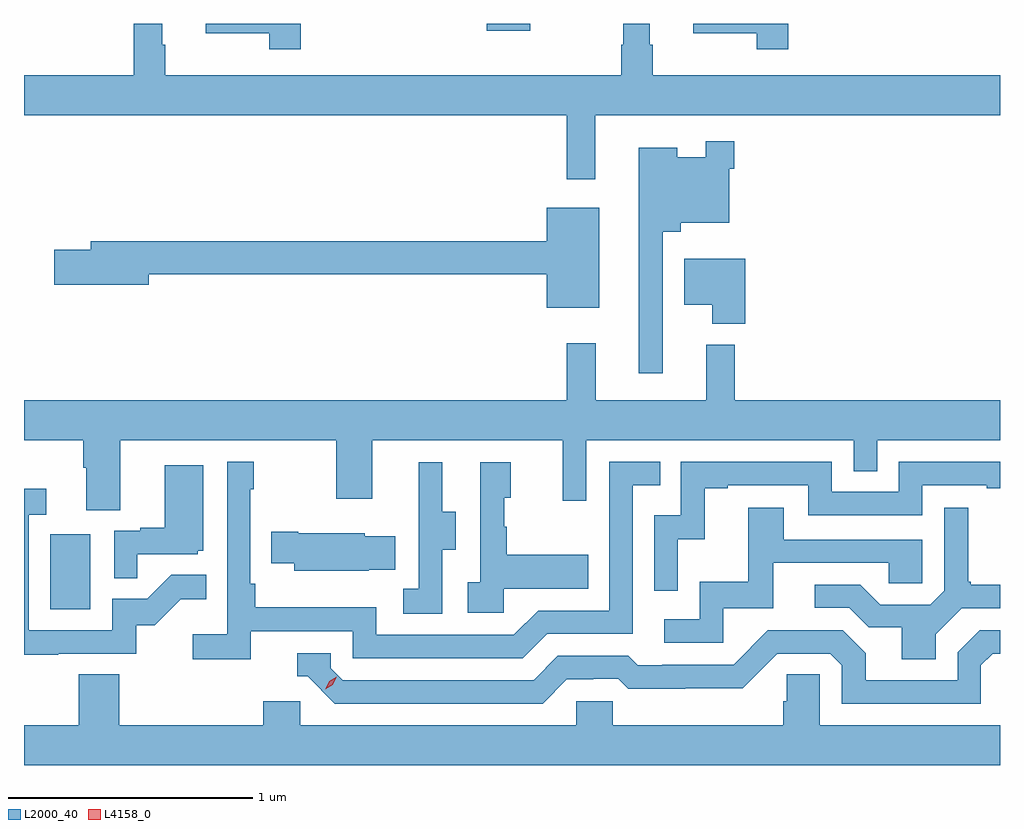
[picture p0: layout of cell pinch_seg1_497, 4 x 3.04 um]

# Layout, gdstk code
import gdstk
lib = gdstk.Library(unit=1e-6, precision=1e-09)
def R(c, l, rs):  # rectangles x0, y0, x1, y1
    for r in rs: c.add(gdstk.rectangle(r[:2], r[2:], *l))
def P(c, l, *ps):  # polygons
    for p in ps: c.add(gdstk.Polygon(p, *l))
L2000_40 = (2000, 40)
L4158_0 = (4158, 0)

pinch_seg1_497 = lib.new_cell('pinch_seg1_497')
R(pinch_seg1_497, L2000_40, [(1127.912,525.732,1128.076,526.039), (1129.7,528.102,1129.878,528.131)])
P(pinch_seg1_497, L2000_40, [(1128.938,528.131),(1128.548,528.131),(1128.548,528.092),(1128.81,528.092),(1128.81,528.027),(1128.938,528.027)],
  [(1130.936,528.131),(1130.546,528.131),(1130.546,528.092),(1130.808,528.092),(1130.808,528.027),(1130.936,528.027)],
  [(1130.146,527.756),(1131.804,527.756),(1131.804,527.92),(1130.38,527.92),(1130.38,528.044),(1130.368,528.044),(1130.368,528.131),(1130.259,528.131),(1130.259,528.044),(1130.251,528.044),(1130.251,527.92),(1128.382,527.92),(1128.382,528.044),(1128.37,528.044),(1128.37,528.131),(1128.253,528.131),(1128.253,527.92),(1127.804,527.92),(1127.804,527.756),(1130.029,527.756),(1130.029,527.493),(1130.146,527.493)],
  [(1130.421,527.279),(1130.495,527.279),(1130.495,527.315),(1130.694,527.315),(1130.694,527.537),(1130.714,527.537),(1130.714,527.65),(1130.598,527.65),(1130.598,527.584),(1130.482,527.584),(1130.482,527.623),(1130.324,527.623),(1130.324,526.698),(1130.421,526.698)],
  [(1130.161,527.377),(1129.946,527.377),(1129.946,527.24),(1128.077,527.24),(1128.077,527.204),(1127.928,527.204),(1127.928,527.062),(1128.316,527.062),(1128.316,527.104),(1129.946,527.104),(1129.946,526.967),(1130.161,526.967)],
  [(1130.759,527.167),(1130.51,527.167),(1130.51,526.979),(1130.624,526.979),(1130.624,526.901),(1130.759,526.901)],
  [(1128.199,526.424),(1129.084,526.424),(1129.084,526.185),(1129.231,526.185),(1129.231,526.424),(1130.012,526.424),(1130.012,526.176),(1130.109,526.176),(1130.109,526.424),(1131.204,526.424),(1131.204,526.297),(1131.3,526.297),(1131.3,526.424),(1131.804,526.424),(1131.804,526.588),(1130.717,526.588),(1130.717,526.816),(1130.6,526.816),(1130.6,526.588),(1130.147,526.588),(1130.147,526.822),(1130.029,526.822),(1130.029,526.588),(1127.804,526.588),(1127.804,526.424),(1128.047,526.424),(1128.047,526.312),(1128.059,526.312),(1128.059,526.138),(1128.199,526.138)],
  [(1128.734,525.642),(1129.152,525.642),(1129.152,525.531),(1129.849,525.531),(1129.948,525.63),(1130.298,525.63),(1130.298,526.239),(1130.411,526.239),(1130.411,526.335),(1130.202,526.335),(1130.202,525.726),(1129.911,525.726),(1129.812,525.627),(1129.248,525.627),(1129.248,525.739),(1128.752,525.739),(1128.752,525.835),(1128.732,525.835),(1128.732,526.223),(1128.745,526.223),(1128.745,526.336),(1128.636,526.336),(1128.636,525.628),(1128.495,525.628),(1128.495,525.526),(1128.734,525.526)],
  [(1130.484,526.019),(1130.594,526.019),(1130.594,526.227),(1130.689,526.227),(1130.689,526.239),(1131.018,526.239),(1131.018,526.116),(1131.486,526.116),(1131.486,526.239),(1131.749,526.239),(1131.749,526.227),(1131.804,526.227),(1131.804,526.335),(1131.39,526.335),(1131.39,526.212),(1131.114,526.212),(1131.114,526.335),(1130.496,526.335),(1130.496,526.116),(1130.388,526.116),(1130.388,525.807),(1130.484,525.807)],
  [(1129.77,525.815),(1130.117,525.815),(1130.117,525.955),(1129.783,525.955),(1129.783,526.07),(1129.773,526.07),(1129.773,526.188),(1129.798,526.188),(1129.798,526.333),(1129.674,526.333),(1129.674,525.842),(1129.623,525.842),(1129.623,525.717),(1129.77,525.717)],
  [(1129.518,525.976),(1129.573,525.976),(1129.573,526.131),(1129.519,526.131),(1129.519,526.333),(1129.421,526.333),(1129.421,526.119),(1129.422,526.119),(1129.422,525.815),(1129.359,525.815),(1129.359,525.712),(1129.518,525.712)],
  [(1128.269,525.957),(1128.516,525.957),(1128.516,525.972),(1128.538,525.972),(1128.538,526.321),(1128.38,526.321),(1128.38,526.066),(1128.281,526.066),(1128.281,526.053),(1128.174,526.053),(1128.174,525.859),(1128.269,525.859)],
  [(1127.945,525.549),(1128.264,525.549),(1128.264,525.666),(1128.34,525.666),(1128.447,525.773),(1128.551,525.773),(1128.551,525.872),(1128.407,525.872),(1128.309,525.774),(1128.165,525.774),(1128.165,525.645),(1127.823,525.645),(1127.823,526.119),(1127.896,526.119),(1127.896,526.225),(1127.804,526.225),(1127.804,525.544),(1127.945,525.544)],
  [(1131.541,525.628),(1131.648,525.735),(1131.804,525.735),(1131.804,525.832),(1131.685,525.832),(1131.685,525.844),(1131.673,525.844),(1131.673,526.147),(1131.576,526.147),(1131.576,525.807),(1131.519,525.75),(1131.313,525.75),(1131.232,525.831),(1131.045,525.831),(1131.045,525.738),(1131.186,525.738),(1131.266,525.658),(1131.401,525.658),(1131.401,525.526),(1131.541,525.526)],
  [(1130.67,525.735),(1130.875,525.735),(1130.875,525.921),(1131.349,525.921),(1131.349,525.837),(1131.486,525.837),(1131.486,526.017),(1130.917,526.017),(1130.917,526.147),(1130.773,526.147),(1130.773,525.844),(1130.574,525.844),(1130.574,525.69),(1130.427,525.69),(1130.427,525.594),(1130.67,525.594)],
  [(1129.217,525.893),(1129.325,525.893),(1129.325,526.03),(1129.2,526.03),(1129.2,526.042),(1128.928,526.042),(1128.928,526.05),(1128.817,526.05),(1128.817,525.92),(1128.911,525.92),(1128.911,525.89),(1129.217,525.89)],
  [(1130.029,525.444),(1130.136,525.444),(1130.136,525.447),(1130.239,525.447),(1130.281,525.405),(1130.514,525.405),(1130.514,525.407),(1130.75,525.407),(1130.892,525.549),(1131.108,525.549),(1131.156,525.501),(1131.156,525.345),(1131.726,525.345),(1131.726,525.501),(1131.774,525.549),(1131.804,525.549),(1131.804,525.645),(1131.72,525.645),(1131.63,525.555),(1131.63,525.441),(1131.253,525.441),(1131.253,525.551),(1131.159,525.645),(1130.853,525.645),(1130.712,525.504),(1130.419,525.504),(1130.419,525.501),(1130.32,525.501),(1130.281,525.54),(1129.992,525.54),(1129.893,525.441),(1129.11,525.441),(1129.062,525.489),(1129.062,525.552),(1128.923,525.552),(1128.923,525.456),(1128.966,525.456),(1129.077,525.345),(1129.93,525.345)],
  [(1131.804,525.256),(1131.066,525.256),(1131.066,525.464),(1130.929,525.464),(1130.929,525.354),(1130.915,525.354),(1130.915,525.256),(1130.217,525.256),(1130.217,525.354),(1130.067,525.354),(1130.067,525.256),(1128.936,525.256),(1128.936,525.354),(1128.785,525.354),(1128.785,525.256),(1128.194,525.256),(1128.194,525.464),(1128.029,525.464),(1128.029,525.256),(1127.804,525.256),(1127.804,525.092),(1131.804,525.092)])
P(pinch_seg1_497, L4158_0, [(1129.039,525.403),(1129.039,525.403),(1129.055,525.436),(1129.086,525.455),(1129.086,525.455),(1129.086,525.455),(1129.07,525.422),(1129.039,525.403)])

lib.write_gds('pinch_seg1_497.gds')
